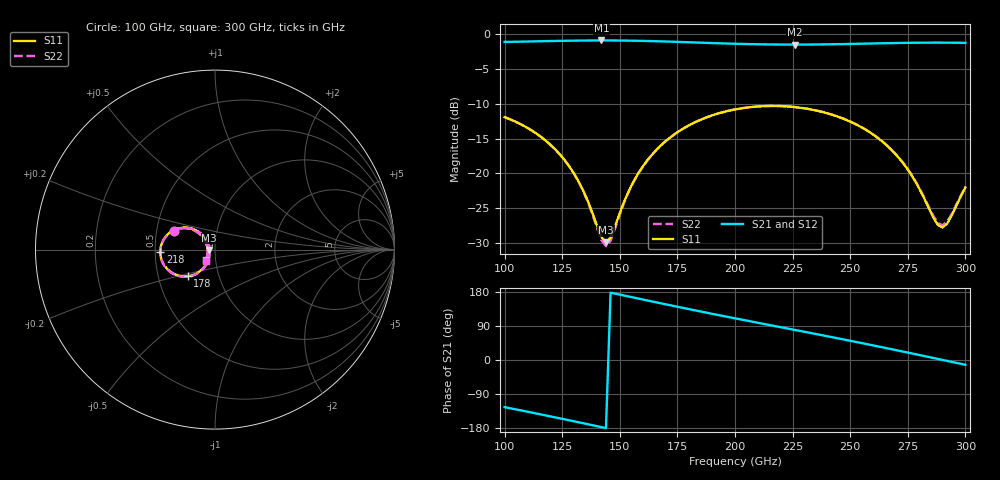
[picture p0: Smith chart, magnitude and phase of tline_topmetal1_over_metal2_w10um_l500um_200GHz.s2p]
#  GHZ S DB R 50
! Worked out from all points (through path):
!   101 points, 100 GHz to 300 GHz, reference 50 ohm
!   highest |S21| = -0.88 dB at 142 GHz (marker M1); lowest = -1.5 dB at 226 GHz (marker M2)
!   group delay of S21, straight-line fit = 3.42 ps
!   lowest |S11| = -29.9 dB at 144 GHz (marker M3), VSWR 1.07, Z = 46.9 - j0.197 ohm
!   |S11| at or under -10 dB: start of sweep to end of sweep
!   |S22| runs from -30.5 to -10.3 dB; largest |S21 - S12| = 1e-14
!   S11 on the Smith chart (normalised r, x): 100 GHz: 0.61, +0.14; 178 GHz: 0.71, -0.22; 218 GHz: 0.53, -0.02; 300 GHz: 0.90, -0.11
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100  -11.92 155.6  -1.10 -124.4  -1.10 -124.4  -11.92 155.6
120  -15.93 135.9  -0.97 -149.0  -0.97 -149.0  -15.94 135.6
128  -18.97 131.0  -0.92 -159.1  -0.92 -159.1  -19.00 130.4
134  -22.40 131.9  -0.90 -166.8  -0.90 -166.8  -22.49 131.0
142  -29.15 162.9  -0.88 -177.1  -0.88 -177.1  -29.59 162.0
144  -29.94 -176.2  -0.88 -179.7  -0.88 -179.7  -30.48 -175.8
146  -29.24 -155.1  -0.89 177.7  -0.89 177.7  -29.69 -153.3
152  -23.99 -125.7  -0.90 170.0  -0.90 170.0  -24.11 -123.7
156  -21.17 -121.7  -0.92 164.8  -0.92 164.8  -21.23 -120.1
168  -15.93 -126.6  -1.02 149.4  -1.02 149.4  -15.94 -125.5
178  -13.47 -135.8  -1.12 136.8  -1.12 136.8  -13.47 -134.8
200  -10.81 -158.6  -1.36 110.0  -1.36 110.0  -10.81 -157.7
218  -10.31 -177.5  -1.47 88.7  -1.47 88.7  -10.30 -176.6
226  -10.47 174.2  -1.48 79.3  -1.48 79.3  -10.47 175.1
234  -10.88 165.9  -1.46 69.9  -1.46 69.9  -10.87 166.9
252  -12.87 148.0  -1.37 48.3  -1.37 48.3  -12.86 149.1
268  -16.66 135.2  -1.26 28.4  -1.26 28.4  -16.62 136.6
276  -19.95 133.5  -1.22 18.3  -1.22 18.3  -19.89 135.1
286  -26.32 155.0  -1.20 5.5  -1.20 5.5  -26.09 156.7
290  -27.80 -175.8  -1.20 0.3  -1.20 0.3  -27.49 -175.0
294  -26.12 -147.5  -1.21 -4.9  -1.21 -4.9  -25.91 -147.6
300  -22.02 -130.2  -1.23 -12.6  -1.23 -12.6  -21.94 -130.2
